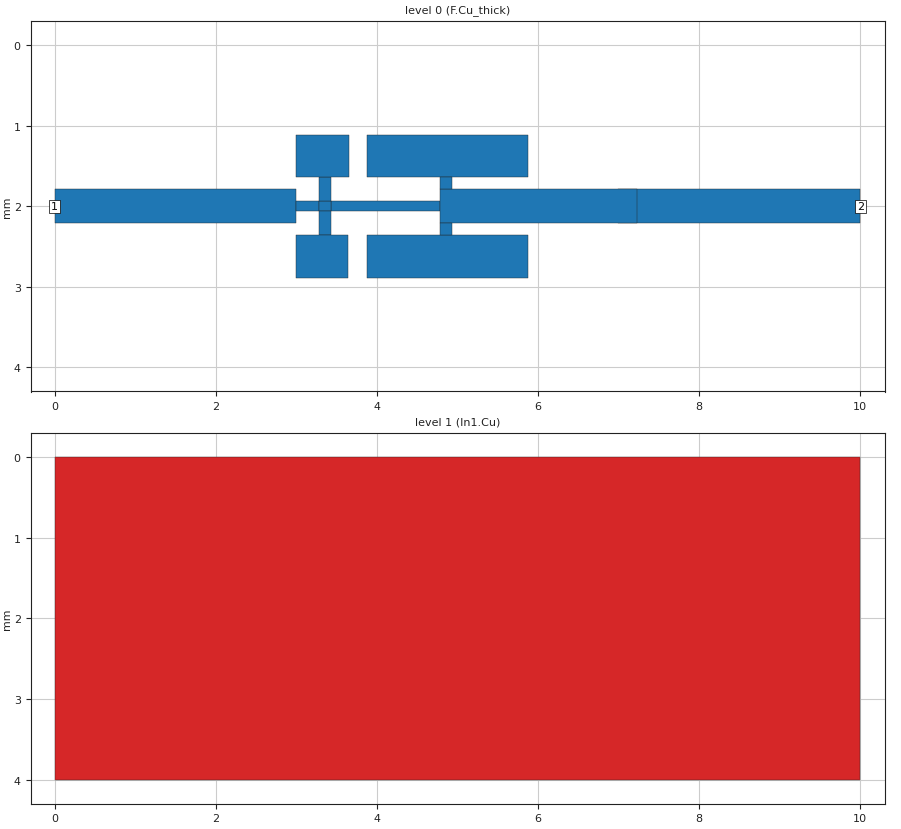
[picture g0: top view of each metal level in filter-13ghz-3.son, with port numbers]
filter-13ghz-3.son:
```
FTYP SONPROJ 19 ! Sonnet Project File
VER 18.56
HEADER
LIC antikernel2.1.52448
DAT 05/25/2023 19:59:07
BUILT_BY_CREATED xgeom 18.54 09/23/2022 20:17:08
BUILT_BY_SAVED sonnet 18.56
MDATE 05/25/2023 19:59:07
HDATE 05/25/2023 19:59:07
ANN Created by dxfgeo, Sonnet Software Inc.
END HEADER
DIM
ANG DEG
CAP FF
CON /OH
FREQ GHZ
IND PH
LNG MM
RES OH
END DIM
CONTROL
VARSWP
OPTIONS  -dj
SPEED 0
CACHE_ABS 2
Q_ACC N
END CONTROL
GEO
DRP1 LEFT FIX 3
DRP1 RIGHT FIX 3
TMET "Free Space" 0 FREESPACE 376.7303136 0 0 0
BMET "Free Space" 0 FREESPACE 376.7303136 0 0 0
MET "Copper_1oz+plated_thick_up" 1 TMM 58000000 0.5 0.0432 2
MET "Copper_1oz+plated_thin" 4 NOR 58000000 0.5 0.0432 
MET "Copper_0.5oz_thin" 2 NOR 58000000 0.5 0.0175 
MET "Copper_1oz+plated_thick_down" 3 TMM 58000000 0.5 0.0432 2 CDVY TDWN
MET "Copper 35um" 1 VOL 58000000 0.035
BOX 4 10 4 2000 640 20 0
      10 1 1 0 0 0 0 "Air"
      0.2021 3.61 1 0.0092 0 0 0 "Isola_FR408HR"
      1.1938 3.61 1 0.0092 0 0 0 "Isola_FR408HR"
      0.2021 3.61 1 0.0092 0 0 0 "Isola_FR408HR"
      10 1 1 0 0 0 0 "Air"
TECHLAY VIA Via1 L3D0 -7 -65534 CAD Via1 drawing 
VIA POLYGON
0 0 4 N 456 1 1 100 100 0 0 0 Y
TOLEVEL 3 RING NOCOVERS
END
END
TECHLAY METAL F.Cu_thick L1D0 -1 -65534 CAD F.Cu drawing 
0 0 0 N 458 1 1 100 100 0 0 0 Y
END
END
TECHLAY METAL F.Cu_thin <UNSPECIFIED> -2 -65534 CAD F.Cu_thin drawing 
0 0 1 N 462 1 1 100 100 0 0 0 Y
END
END
TECHLAY METAL In1.Cu L2D0 -3 -65534 CAD In1.Cu drawing 
1 0 2 N 465 1 1 100 100 0 0 0 Y
END
END
TECHLAY METAL In2.Cu <UNSPECIFIED> -4 -65534 CAD In2.Cu drawing 
2 0 2 N 468 1 1 100 100 0 0 0 Y
END
END
TECHLAY METAL B.Cu_thick <UNSPECIFIED> -5 -65534 CAD B.Cu drawing 
3 0 3 N 471 1 1 100 100 0 0 0 Y
END
END
TECHLAY METAL B.Cu_thin <UNSPECIFIED> -6 -65534 CAD B.Cu_thin drawing 
3 0 1 N 473 1 1 100 100 0 0 0 Y
END
END
DIM STD XDIR 1
POS 0.579525404 -0.08043223384
NOM 2
REF1 POLY 497 1
1
REF2 POLY 497 1
0
END
DIM STD YDIR 1
POS 0.3899532872 0.9738656873
NOM 1.775
REF1 POLY 497 1
0
REF2 POLY 494 1
3
END
DIM STD XDIR -1
POS -2.772081907 -0.2895045386
NOM 2.87
REF1 POLY 497 1
0
REF2 POLY 396 1
1
END
DIM STD XDIR 1
POS 0.15056137 0.07836358852
NOM 0.22
REF1 POLY 519 1
2
REF2 POLY 497 1
2
END
LORGN 0 4 U 
POR1 BOX
POLY 396 1
3
1 50 0 0 0 0 2 
POR1 BOX
POLY 399 1
1
2 50 0 0 0 10 2 
NUM 15
0 5 0 N 396 1 1 100 100 0 0 0 Y
TLAYNAM F.Cu_thick INH
0 1.7875
3 1.7875
3 2.2125
0 2.2125
0 1.7875
END
0 5 0 N 399 1 1 100 100 0 0 0 Y
TLAYNAM F.Cu_thick INH
6.99 1.7875
10 1.7875
10 2.2125
6.99 2.2125
6.99 1.7875
END
0 5 0 N 486 1 1 100 100 0 0 0 Y
TLAYNAM F.Cu_thick INH
3 1.9375
3.28 1.9375
3.28 2.0625
3 2.0625
3 1.9375
END
0 5 0 N 488 1 1 100 100 0 0 0 Y
TLAYNAM F.Cu_thick INH
3.43 1.9375
4.78 1.9375
4.78 2.0625
3.43 2.0625
3.43 1.9375
END
0 5 0 N 494 1 1 100 100 0 0 0 Y
TLAYNAM F.Cu_thick INH
5.87 2.3625
3.87 2.3625
3.87 2.8875
5.87 2.8875
5.87 2.3625
END
0 5 0 N 496 1 1 100 100 0 0 0 Y
TLAYNAM F.Cu_thick INH
7.23 1.7875
4.78 1.7875
4.78 2.2125
7.23 2.2125
7.23 1.7875
END
0 5 0 N 497 1 1 100 100 0 0 0 Y
TLAYNAM F.Cu_thick INH
5.87 1.1125
3.87 1.1125
3.87 1.6375
5.87 1.6375
5.87 1.1125
END
0 5 0 N 498 1 1 100 100 0 0 0 Y
TLAYNAM F.Cu_thick INH
4.78 2.2125
4.93 2.2125
4.93 2.3625
4.78 2.3625
4.78 2.2125
END
0 5 0 N 499 1 1 100 100 0 0 0 Y
TLAYNAM F.Cu_thick INH
4.78 1.6375
4.93 1.6375
4.93 1.7875
4.78 1.7875
4.78 1.6375
END
0 5 0 N 510 1 1 100 100 0 0 0 Y
TLAYNAM F.Cu_thick INH
3.43 1.9375
3.28 1.9375
3.28 2.0625
3.43 2.0625
3.43 1.9375
END
0 5 0 N 512 1 1 100 100 0 0 0 Y
TLAYNAM F.Cu_thick INH
3.28 2.0625
3.43 2.0625
3.43 2.3625
3.28 2.3625
3.28 2.0625
END
0 5 0 N 513 1 1 100 100 0 0 0 Y
TLAYNAM F.Cu_thick INH
3.28 1.6375
3.43 1.6375
3.43 1.9375
3.28 1.9375
3.28 1.6375
END
0 5 0 N 519 1 1 100 100 0 0 0 Y
TLAYNAM F.Cu_thick INH
3 1.1125
3.65 1.1125
3.65 1.6375
3 1.6375
3 1.1125
END
0 5 0 N 520 1 1 100 100 0 0 0 Y
TLAYNAM F.Cu_thick INH
2.99 2.3625
3.64 2.3625
3.64 2.8875
2.99 2.8875
2.99 2.3625
END
1 5 2 N 133 1 1 100 100 0 0 0 Y
TLAYNAM In1.Cu INH
0 0
10 0
10 4
0 4
0 0
END
END GEO
OPT
MAX 100
END OPT
VARSWP
ENABLED Y
FREQ Y AY ABS_ENTRY 0.1 30.0 -1 300 
END
END VARSWP
```
